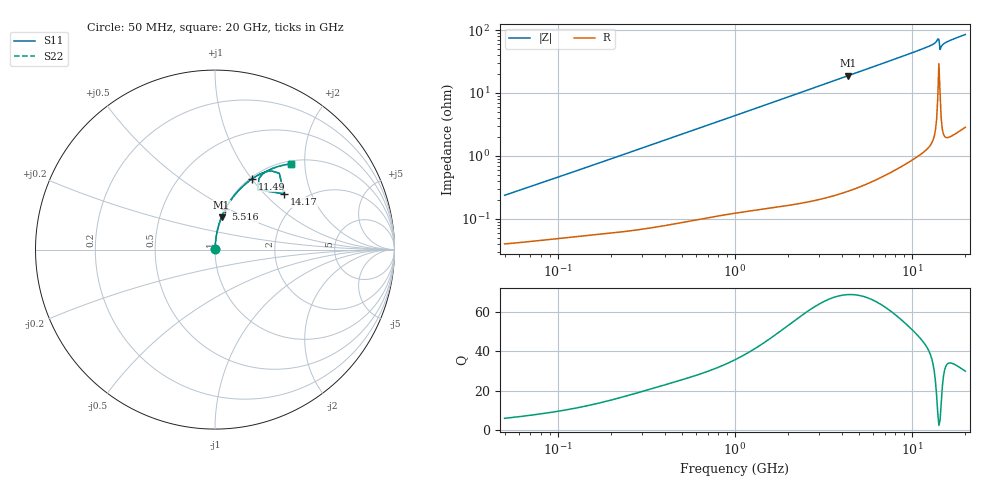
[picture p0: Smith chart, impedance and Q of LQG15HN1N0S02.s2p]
!Murata Part Number: LQG15HN1N0S02
!These Parameters are Measured in Series Mode Connection
!  o--[Z]--o
!Port1  Port2
!  o-------o
!Freq. Start=50[MHz] Stop=20[GHz], 401[Steps]
# Hz S RI R 50
!Freq.(Hz) S11(Real) S11(Imag) S21(Real) S21(Imag) S12(Real) S12(Imag) S22(Real) S22(Imag)
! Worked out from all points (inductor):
!   401 points, 50 MHz to 20 GHz, reference 50 ohm
!   read as one part in series: L = 735 pH near 51.52 MHz
!   highest Q = 69 at 4.34 GHz (marker M1), where L = 690 pH
!   S11 on the Smith chart (normalised r, x): 50 MHz: 1.00, +0.00; 5.516 GHz: 1.01, +0.48; 11.49 GHz: 1.02, +1.01; 14.17 GHz: 1.59, +1.31; 20 GHz: 1.06, +1.71
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5e7  0.000402 0.00232  0.9996 -0.00232  0.9996 -0.00232  0.000402 0.00232
1.364002e8  0.000564 0.00616  0.9994 -0.00616  0.9994 -0.00616  0.000564 0.00616
3.721004e8  0.00102 0.0165  0.999 -0.0165  0.999 -0.0165  0.00102 0.0165
1e9  0.00312 0.0435  0.9969 -0.0435  0.9969 -0.0435  0.00312 0.0435
1.714689e9  0.00701 0.0739  0.993 -0.0739  0.993 -0.0739  0.00701 0.0739
2.728004e9  0.0156 0.1162  0.9844 -0.1162  0.9844 -0.1162  0.0156 0.1162
4.34015e9  0.0366 0.1807  0.9634 -0.1807  0.9634 -0.1807  0.0366 0.1807
5.515528e9  0.057 0.2247  0.943 -0.2247  0.943 -0.2247  0.057 0.2247
7.442007e9  0.0984 0.2898  0.9016 -0.2898  0.9016 -0.2898  0.0984 0.2898
9.316812e9  0.1461 0.344  0.8539 -0.344  0.8539 -0.344  0.1461 0.344
1.149051e10  0.2089 0.3956  0.7911 -0.3956  0.7911 -0.3956  0.2089 0.3956
1.295331e10  0.2605 0.4252  0.7395 -0.4252  0.7395 -0.4252  0.2605 0.4252
1.354865e10  0.2952 0.4364  0.7048 -0.4364  0.7048 -0.4364  0.2952 0.4364
1.375312e10  0.3172 0.4379  0.6828 -0.4379  0.6828 -0.4379  0.3172 0.4379
1.396067e10  0.3582 0.4257  0.6418 -0.4257  0.6418 -0.4257  0.3582 0.4257
1.417136e10  0.3848 0.3113  0.6152 -0.3113  0.6152 -0.3113  0.3848 0.3113
1.460232e10  0.2449 0.3954  0.7551 -0.3954  0.7551 -0.3954  0.2449 0.3954
1.482269e10  0.2614 0.4174  0.7386 -0.4174  0.7386 -0.4174  0.2614 0.4174
1.504638e10  0.2746 0.4285  0.7254 -0.4285  0.7254 -0.4285  0.2746 0.4285
1.527346e10  0.2855 0.4356  0.7145 -0.4356  0.7145 -0.4356  0.2855 0.4356
1.597544e10  0.3122 0.4489  0.6878 -0.4489  0.6878 -0.4489  0.3122 0.4489
2e10  0.4247 0.4779  0.5753 -0.4779  0.5753 -0.4779  0.4247 0.4779
